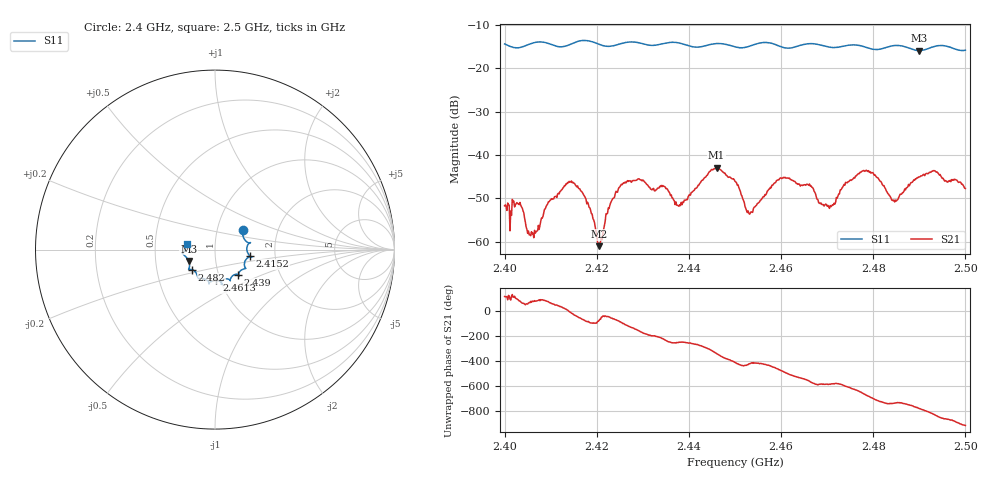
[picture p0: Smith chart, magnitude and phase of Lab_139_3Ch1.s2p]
# Hz S RI R 50
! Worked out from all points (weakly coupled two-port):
!   601 points, 2.4 GHz to 2.5 GHz, reference 50 ohm
!   highest |S21| = -42.92 dB at 2.446 GHz (marker M1); lowest = -61.1 dB at 2.4205 GHz (marker M2)
!   lowest |S11| = -15.9 dB at 2.49 GHz (marker M3), VSWR 1.38, Z = 36.9 - j4.85 ohm
!   |S11| at or under -10 dB: start of sweep to end of sweep
!   S12 and S22 are empty: the file has one direction only
!   S11 on the Smith chart (normalised r, x): 2.4 GHz: 1.33, +0.31; 2.4152 GHz: 1.48, -0.11; 2.439 GHz: 1.24, -0.36; 2.4613 GHz: 0.96, -0.34; 2.482 GHz: 0.76, -0.18; 2.5 GHz: 0.73, +0.05
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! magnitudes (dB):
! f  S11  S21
! 2.4 GHz  -14.4  -51.7
! 2.4033 GHz  -15.2  -51.0
! 2.4058 GHz  -14.3  -57.7
! 2.4097 GHz  -14.3  -50.8
! 2.4152 GHz  -14.1  -46.6
! 2.4167 GHz  -13.6  -48.4
! 2.4205 GHz  -14.4  -61.1
! 2.4253 GHz  -14.3  -46.8
! 2.4333 GHz  -14.5  -47.7
! 2.439 GHz  -14.5  -50.4
! 2.446 GHz  -14.3  -42.9
! 2.45 GHz  -15.0  -46.1
! 2.4533 GHz  -14.8  -53.4
! 2.4613 GHz  -15.3  -45.3
! 2.4667 GHz  -14.3  -47.4
! 2.4705 GHz  -15.1  -52.3
! 2.4777 GHz  -14.9  -43.7
! 2.482 GHz  -15.4  -46.9
! 2.4833 GHz  -15.0  -49.1
! 2.4848 GHz  -14.7  -50.4
! 2.49 GHz  -15.9  -45.1
! 2.5 GHz  -15.8  -47.7
